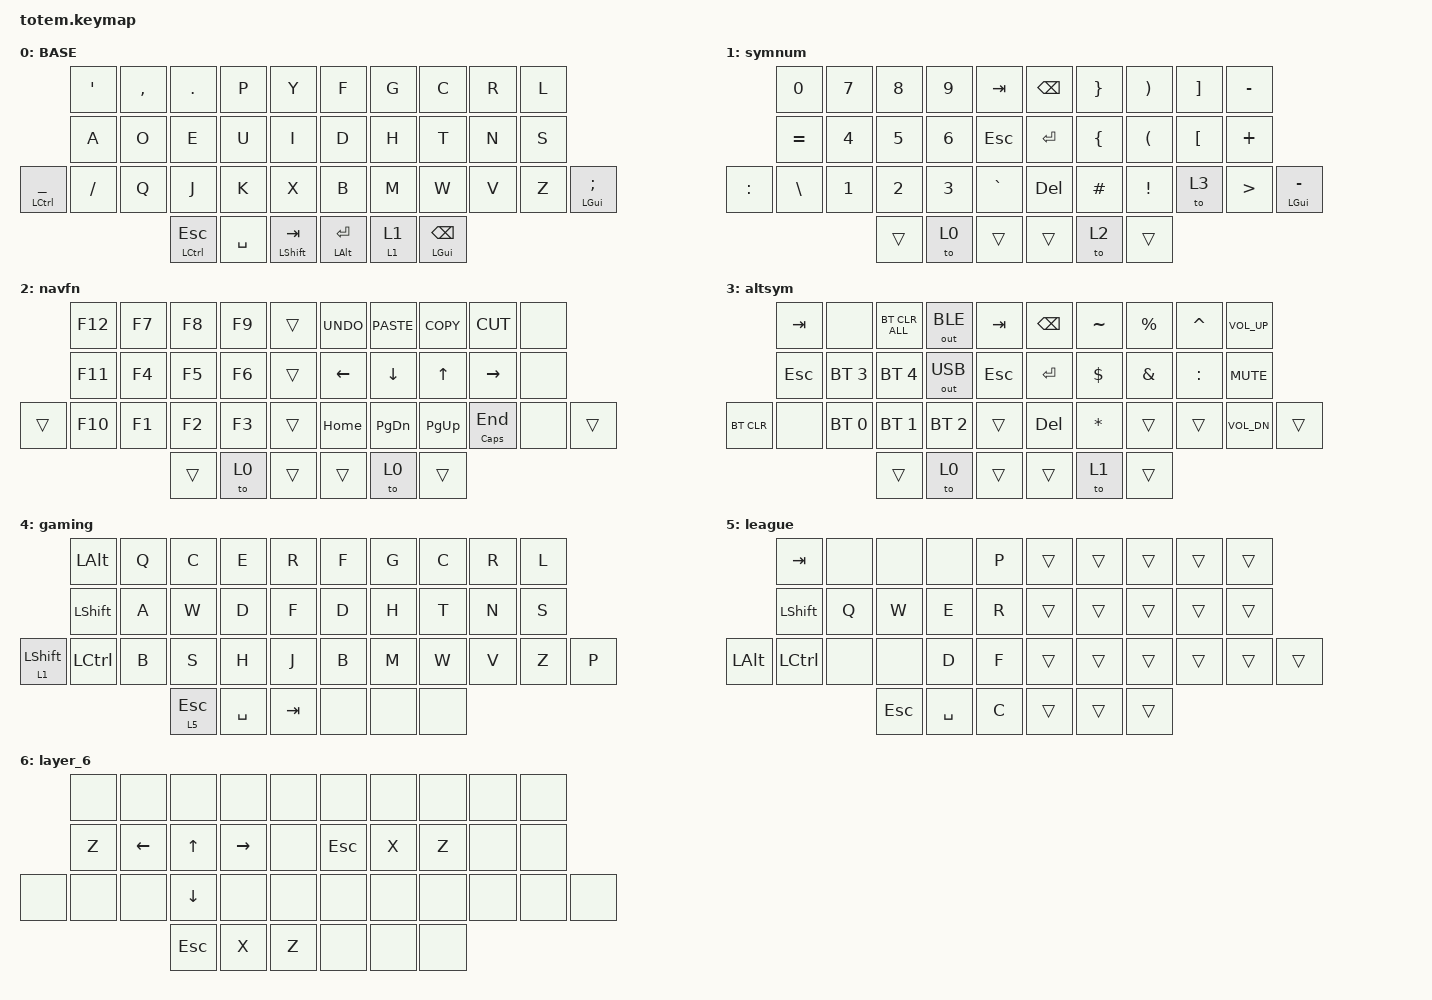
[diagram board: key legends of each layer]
//
//                                                        ▀▀▀▀▀     ▀▀▀▀▀          ▀▀█▀▀
//                                                        ▄▀▀▀▄  ▄  ▄▀▀▀▄  ▄  ▄▀▀▀▄  █  ▄▀▀▀▄
//                                                        █   █  █  █   █  █  █   █  █  █   █
//                                                         ▀▀▀   █   ▀▀▀   █   ▀▀▀   ▀   ▀▀▀
//                                                               █      ▄▄▄█▄▄▄    █   █  
//                                                               ▀      █  █  █     █▄█
//                                                             ▀▀▀▀▀    █  █  █      ▀
//                                                                      ▀  ▀  ▀
//
// ▄▄▄▄▄▄▄▄▄▄▄▄▄▄▄▄▄▄▄▄▄▄▄▄▄▄▄▄▄▄▄▄▄▄▄▄▄▄▄▄▄▄▄▄▄▄▄▄▄▄▄▄▄▄▄▄▄▄▄▄▄▄▄▄▄▄▄▄▄▄▄▄▄▄▄▄▄▄▄▄▄▄▄▄▄▄▄▄▄▄▄▄▄▄▄▄▄▄▄▄▄▄▄▄▄▄▄▄▄▄▄▄▄▄▄▄▄▄▄▄▄▄▄▄▄▄▄▄▄▄▄▄▄▄▄▄▄▄▄▄▄▄▄▄▄▄▄▄▄

#include "mouse.dsti"
#include <behaviors.dtsi>
#include <dt-bindings/zmk/bt.h>
#include <dt-bindings/zmk/keys.h>
#include <dt-bindings/zmk/outputs.h>

#define BASE 0
#define NAV  1
#define SYM  2
#define ADJ  3
#define TVP1 4
#define TVP2 5

&mt {
    flavor = "balanced";
    tapping-term-ms = <160>;
};

/ {
    combos {
        compatible = "zmk,combos";

        gaming_to {
            bindings = <&to 4>;
            key-positions = <20 31>;
            layers = <0>;
        };

        default_to {
            bindings = <&to 0>;
            key-positions = <20 31>;
            layers = <4>;
        };

        underscore {
            bindings = <&kp AT>;
            key-positions = <24 23>;
        };

        capsword {
            bindings = <&caps_word>;
            key-positions = <13 16>;
        };

        To_Base {
            bindings = <&to 0>;
            key-positions = <33 36>;
        };

        esc {
            bindings = <&kp ESC>;
            key-positions = <2 3>;
        };

        hold_nav_layer {
            bindings = <&mo 2>;
            key-positions = <20 33>;
            timeout-ms = <300>;
            layers = <0 1 2 3>;
        };

        default_to_from_anywhre {
            bindings = <&to 0>;
            key-positions = <2 7 6 3>;
        };

        league {
            bindings = <&to 5>;
            key-positions = <4 5>;
        };

        pico8_to {
            bindings = <&to 6>;
            key-positions = <0 9>;
        };

        alt {
            bindings = <&kp LEFT_ALT>;
            key-positions = <16 17>;
        };
    };

    macros {
        gif: gif {
            label = "giphy";
            compatible = "zmk,behavior-macro";
            #binding-cells = <0>;
            bindings =
                <&macro_press>,
                <&kp LSHFT>,
                <&macro_tap>,
                <&kp N2>,
                <&macro_release>,
                <&kp LSHFT>,
                <&macro_tap>,
                <&kp G &kp I &kp F>;
        };
    };

    behaviors {
        layer_tap_hold: layer_tap_hold {
            compatible = "zmk,behavior-hold-tap";
            label = "LAYER_TAP_HOLD";
            bindings = <&sl>, <&to>;

            #binding-cells = <2>;
            tapping-term-ms = <150>;
        };
    };

    keymap {
        compatible = "zmk,keymap";

        // ▄▄▄▄▄▄▄▄▄▄▄▄▄▄▄▄▄▄▄▄▄▄▄▄▄▄▄▄▄▄▄▄▄▄▄▄▄▄▄▄▄▄▄▄▄▄▄▄▄▄▄▄▄▄▄▄▄▄▄▄▄▄▄▄▄▄▄▄▄▄▄▄▄▄▄▄▄▄▄▄▄▄▄▄▄▄▄▄▄▄▄▄▄▄▄▄▄▄▄▄▄▄▄▄▄▄▄▄▄▄▄▄▄▄▄▄▄▄▄▄▄▄▄▄▄▄▄▄▄▄▄▄▄▄▄▄▄▄▄▄▄▄▄▄▄▄▄▄▄

        base_layer {
            // ┏━━━━━━━━━━━━━━━━━━━━━━━━━━━━━━━━━━━━━━━┓

            label = "BASE";

            // ┗━━━━━━━━━━━━━━━━━━━━━━━━━━━━━━━━━━━━━━━┛
            //             ┏━━━━━━━━━━━┳━━━━━━━━━━━┳━━━━━━━━━━━┳━━━━━━━━━━━┳━━━━━━━━━━━┓   ┏━━━━━━━━━━━┳━━━━━━━━━━━┳━━━━━━━━━━━┳━━━━━━━━━━━┳━━━━━━━━━━━┓
            //             ┃     Q     ┃     W     ┃     F     ┃     P     ┃     G     ┃   ┃     J     ┃     L     ┃     U     ┃     Y     ┃     ;     ┃
            //             ┣━━━━━━━━━━━╋━━━━━━━━━━━╋━━━━━━━━━━━╋━━━━━━━━━━━╋━━━━━━━━━━━┫   ┣━━━━━━━━━━━╋━━━━━━━━━━━╋━━━━━━━━━━━╋━━━━━━━━━━━╋━━━━━━━━━━━┫
            //             ┃     A     ┃     R     ┃     S     ┃     T     ┃     D     ┃   ┃     H     ┃     N     ┃     E     ┃     I     ┃     O     ┃
            // ┏━━━━━━━━━━━╋━━━━━━━━━━━╋━━━━━━━━━━━╋━━━━━━━━━━━╋━━━━━━━━━━━╋━━━━━━━━━━━┫   ┣━━━━━━━━━━━╋━━━━━━━━━━━╋━━━━━━━━━━━╋━━━━━━━━━━━╋━━━━━━━━━━━╋━━━━━━━━━━━┓
            // ┃     Q     ┃     Z     ┃     X     ┃     C     ┃     V     ┃     B     ┃   ┃     K     ┃     M     ┃     ,     ┃     .     ┃     /     ┃     \     ┃
            // ┗━━━━━━━━━━━┻━━━━━━━━━━━┻━━━━━━━━━━━╋━━━━━━━━━━━╋━━━━━━━━━━━╋━━━━━━━━━━━┫   ┣━━━━━━━━━━━╋━━━━━━━━━━━╋━━━━━━━━━━━╋━━━━━━━━━━━┻━━━━━━━━━━━┻━━━━━━━━━━━┛
            //                                     ┃    DEL    ┃    TAB    ┃    SPC    ┃   ┃   ENTER   ┃           ┃   BSPC    ┃
            //                                     ┗━━━━━━━━━━━┻━━━━━━━━━━━┻━━━━━━━━━━━┛   ┗━━━━━━━━━━━┻━━━━━━━━━━━┻━━━━━━━━━━━┛

            bindings = <
                      &kp SQT    &kp COMMA  &kp PERIOD            &kp P      &kp Y                 &kp F               &kp G                &kp C                   &kp R  &kp L
                      &kp A      &kp O      &kp E                 &kp U      &kp I                 &kp D               &kp H                &kp T                   &kp N  &kp S
&mt LCTRL UNDERSCORE  &kp SLASH  &kp Q      &kp J                 &kp K      &kp X                 &kp B               &kp M                &kp W                   &kp V  &kp Z  &mt LEFT_GUI SEMI
                                            &mt LEFT_CONTROL ESC  &kp SPACE  &mt LEFT_SHIFT TAB    &mt LEFT_ALT ENTER  &layer_tap_hold 1 1  &mt LEFT_GUI BACKSPACE
            >;
        };

        symnum {
            bindings = <
           &kp N0     &kp N7  &kp N8  &kp N9  &kp TAB      &kp BSPC  &kp RIGHT_BRACE  &kp RIGHT_PARENTHESIS  &kp RIGHT_BRACKET  &kp MINUS
           &kp EQUAL  &kp N4  &kp N5  &kp N6  &kp ESC      &kp RET   &kp LEFT_BRACE   &kp LEFT_PARENTHESIS   &kp LEFT_BRACKET   &kp PLUS
&kp COLON  &kp BSLH   &kp N1  &kp N2  &kp N3  &kp GRAVE    &kp DEL   &kp POUND        &kp EXCLAMATION        &to 3              &kp GREATER_THAN  &mt LEFT_GUI MINUS
                              &trans  &to 0   &trans       &trans    &to 2            &trans
            >;
        };

        navfn {
            bindings = <
        &kp F12  &kp F7  &kp F8  &kp F9  &trans    &kp K_UNDO  &kp K_PASTE  &kp K_COPY  &kp K_CUT         &none
        &kp F11  &kp F4  &kp F5  &kp F6  &trans    &kp LEFT    &kp DOWN     &kp UP      &kp RIGHT         &none
&trans  &kp F10  &kp F1  &kp F2  &kp F3  &trans    &kp HOME    &kp PG_DN    &kp PG_UP   &mt CAPSLOCK END  &none  &trans
                         &trans  &to 0   &trans    &trans      &to 0        &trans
            >;
        };

        altsym {
            bindings = <
            &kp TAB  &none         &bt BT_CLR_ALL  &out OUT_BLE  &kp TAB    &kp BACKSPACE  &kp TILDE   &kp PRCNT  &kp CARET  &kp C_VOL_UP
            &kp ESC  &bt BT_SEL 3  &bt BT_SEL 4    &out OUT_USB  &kp ESC    &kp ENTER      &kp DOLLAR  &kp AMPS   &kp COLON  &kp K_MUTE
&bt BT_CLR  &none    &bt BT_SEL 0  &bt BT_SEL 1    &bt BT_SEL 2  &trans     &kp DEL        &kp ASTRK   &trans     &trans     &kp C_VOL_DN  &trans
                                   &trans          &to 0         &trans     &trans         &to 1       &trans
            >;
        };

        gaming {
            bindings = <
                  &kp LEFT_ALT  &kp Q  &kp C      &kp E      &kp R      &kp F  &kp G  &kp C  &kp R  &kp L
                  &kp LSHFT     &kp A  &kp W      &kp D      &kp F      &kp D  &kp H  &kp T  &kp N  &kp S
&lt 1 LEFT_SHIFT  &kp LCTRL     &kp B  &kp S      &kp H      &kp J      &kp B  &kp M  &kp W  &kp V  &kp Z  &kp P
                                       &lt 5 ESC  &kp SPACE  &kp TAB    &none  &none  &none
            >;
        };

        league {
            bindings = <
              &kp TAB         &none  &none    &none      &kp P    &trans  &trans  &trans  &trans  &trans
              &kp LEFT_SHIFT  &kp Q  &kp W    &kp E      &kp R    &trans  &trans  &trans  &trans  &trans
&kp LEFT_ALT  &kp LCTRL       &none  &none    &kp D      &kp F    &trans  &trans  &trans  &trans  &trans  &trans
                                     &kp ESC  &kp SPACE  &kp C    &trans  &trans  &trans
            >;
        };

        layer_6 {
            bindings = <
       &none  &none           &none           &none            &none    &none    &none  &none  &none  &none
       &kp Z  &kp LEFT_ARROW  &kp UP_ARROW    &kp RIGHT_ARROW  &none    &kp ESC  &kp X  &kp Z  &none  &none
&none  &none  &none           &kp DOWN_ARROW  &none            &none    &none    &none  &none  &none  &none  &none
                              &kp ESCAPE      &kp X            &kp Z    &none    &none  &none
            >;
        };
    };

    mouse_layer {
        display-name = "MSE";
        bindings = <
            &trans          &trans        &trans        &trans       &trans           &msc SCRL_LEFT &msc SCRL_DOWN &mmv MOVE_UP   &msc SCRL_UP    &msc SCRL_RIGHT
            &kp LGUI        &kp LALT      &kp LCTRL     &kp LSHFT    &trans           &trans         &mmv MOVE_LEFT &mmv MOVE_DOWN &mmv MOVE_RIGHT &trans
&trans      &trans          &trans        &trans        &trans       &trans           &trans         &mkp MB4       &mkp MCLK      &mkp MB5         &trans           &trans
                                          &trans        &trans       &trans           &mkp LCLK      &mkp RCLK       &trans
        >;
    };
};
